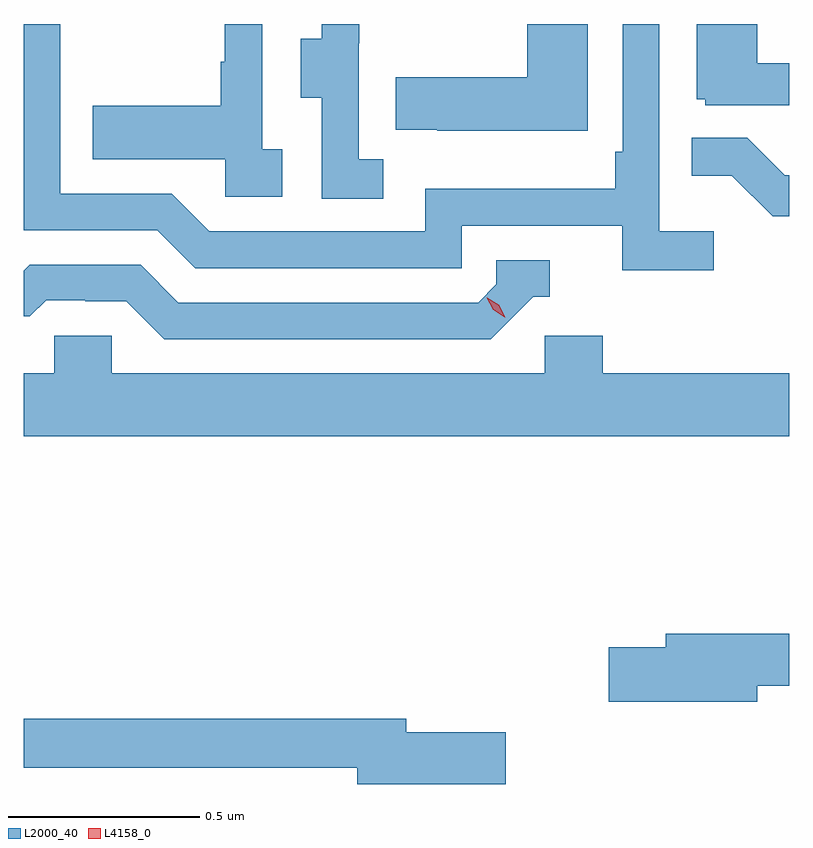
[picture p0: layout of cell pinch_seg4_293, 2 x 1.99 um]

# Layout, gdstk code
import gdstk
lib = gdstk.Library(unit=1e-6, precision=1e-09)
def P(c, l, *ps):  # polygons
    for p in ps: c.add(gdstk.Polygon(p, *l))
L2000_40 = (2000, 40)
L4158_0 = (4158, 0)

pinch_seg4_293 = lib.new_cell('pinch_seg4_293')
P(pinch_seg4_293, L2000_40, [(926.074,811.217),(925.916,811.217),(925.916,811.078),(925.573,811.078),(925.573,810.941),(925.681,810.941),(925.681,810.938),(926.074,810.938)],
  [(925.54,810.863),(925.476,810.863),(925.476,811.167),(925.478,811.167),(925.478,811.217),(925.379,811.217),(925.379,811.179),(925.325,811.179),(925.325,811.024),(925.38,811.024),(925.38,810.76),(925.54,810.76)],
  [(925.276,810.89),(925.224,810.89),(925.224,811.217),(925.126,811.217),(925.126,811.118),(925.116,811.118),(925.116,811.003),(924.781,811.003),(924.781,810.863),(925.128,810.863),(925.128,810.765),(925.276,810.765)],
  [(926.404,810.676),(926.262,810.676),(926.262,811.217),(926.166,811.217),(926.166,810.883),(926.146,810.883),(926.146,810.787),(925.65,810.787),(925.65,810.675),(925.086,810.675),(924.987,810.774),(924.696,810.774),(924.696,811.217),(924.601,811.217),(924.601,810.678),(924.95,810.678),(925.049,810.579),(925.746,810.579),(925.746,810.69),(926.165,810.69),(926.165,810.574),(926.404,810.574)],
  [(926.601,811.114),(926.518,811.114),(926.518,811.217),(926.36,811.217),(926.36,811.02),(926.382,811.02),(926.382,811.005),(926.601,811.005)],
  [(926.601,810.822),(926.589,810.822),(926.491,810.92),(926.347,810.92),(926.347,810.821),(926.451,810.821),(926.558,810.714),(926.601,810.714)],
  [(925.932,810.504),(925.975,810.504),(925.975,810.6),(925.836,810.6),(925.836,810.537),(925.788,810.489),(925.005,810.489),(924.906,810.588),(924.617,810.588),(924.601,810.572),(924.601,810.453),(924.617,810.453),(924.659,810.495),(924.762,810.495),(924.762,810.492),(924.869,810.492),(924.968,810.393),(925.821,810.393)],
  [(926.601,810.304),(926.114,810.304),(926.114,810.402),(925.962,810.402),(925.962,810.304),(924.831,810.304),(924.831,810.402),(924.681,810.402),(924.681,810.304),(924.601,810.304),(924.601,810.14),(926.601,810.14)],
  [(926.518,809.488),(926.601,809.488),(926.601,809.624),(926.279,809.624),(926.279,809.588),(926.13,809.588),(926.13,809.446),(926.518,809.446)],
  [(925.861,809.366),(925.6,809.366),(925.6,809.402),(924.601,809.402),(924.601,809.274),(925.472,809.274),(925.472,809.231),(925.861,809.231)])
P(pinch_seg4_293, L4158_0, [(925.858,810.451),(925.828,810.47),(925.811,810.502),(925.811,810.502),(925.812,810.502),(925.842,810.483),(925.859,810.451),(925.859,810.451)])

lib.write_gds('pinch_seg4_293.gds')
